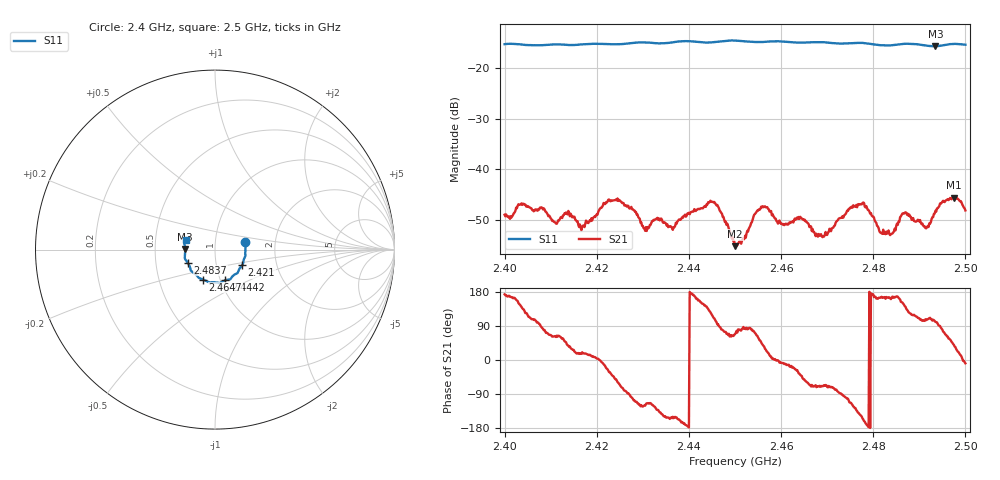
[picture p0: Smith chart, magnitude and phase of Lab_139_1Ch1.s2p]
# Hz S RI R 50
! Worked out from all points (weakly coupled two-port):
!   601 points, 2.4 GHz to 2.5 GHz, reference 50 ohm
!   highest |S21| = -45.64 dB at 2.4975 GHz (marker M1); lowest = -55.3 dB at 2.45 GHz (marker M2)
!   lowest |S11| = -15.6 dB at 2.4935 GHz (marker M3), VSWR 1.40, Z = 35.8 + j0.2 ohm
!   |S11| at or under -10 dB: start of sweep to end of sweep
!   S12 and S22 are empty: the file has one direction only
!   S11 on the Smith chart (normalised r, x): 2.4 GHz: 1.40, +0.12; 2.421 GHz: 1.33, -0.24; 2.4442 GHz: 1.05, -0.37; 2.4647 GHz: 0.83, -0.29; 2.4837 GHz: 0.73, -0.11; 2.5 GHz: 0.72, +0.08
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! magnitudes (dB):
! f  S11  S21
! 2.4 GHz  -15.2  -49.0
! 2.404 GHz  -15.3  -46.8
! 2.4167 GHz  -15.3  -52.1
! 2.421 GHz  -15.2  -47.7
! 2.4248 GHz  -15.2  -46.1
! 2.4307 GHz  -14.9  -51.5
! 2.4333 GHz  -15.1  -50.0
! 2.4365 GHz  -14.9  -52.0
! 2.4442 GHz  -14.9  -46.5
! 2.45 GHz  -14.5  -55.3
! 2.456 GHz  -14.8  -47.3
! 2.4647 GHz  -14.9  -50.0
! 2.4667 GHz  -14.8  -52.3
! 2.4695 GHz  -14.9  -52.9
! 2.4775 GHz  -15.0  -47.0
! 2.4833 GHz  -15.5  -52.1
! 2.4837 GHz  -15.5  -53.1
! 2.4867 GHz  -15.2  -48.8
! 2.4915 GHz  -15.5  -51.7
! 2.4935 GHz  -15.6  -48.2
! 2.4975 GHz  -15.2  -45.6
! 2.5 GHz  -15.3  -48.2
